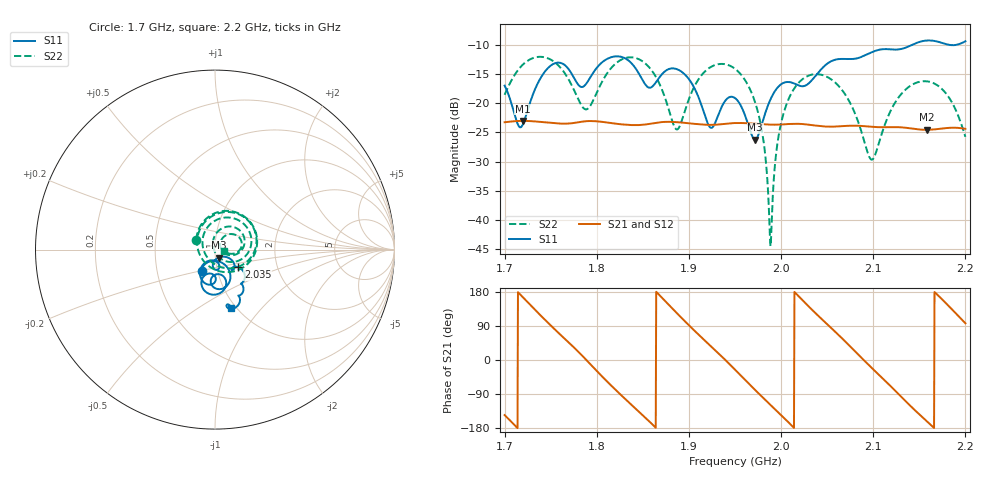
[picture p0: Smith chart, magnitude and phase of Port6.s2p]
# Hz S RI R 50
! CMT, CMT808U, 21440046, 21.4.3/4
! Date: 11/20/2025 11:31:19 PM
! Data: Format (Calibration Info)
! Freq	S11:Re/Im(F2)	S41:Re/Im(F2)	S14:Re/Im(F2)	S44:Re/Im(F2)
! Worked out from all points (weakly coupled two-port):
!   1001 points, 1.7 GHz to 2.2 GHz, reference 50 ohm
!   highest |S21| = -23.02 dB at 1.72 GHz (marker M1); lowest = -24.5 dB at 2.158 GHz (marker M2)
!   lowest |S11| = -26.2 dB at 1.972 GHz (marker M3), VSWR 1.10, Z = 51.9 - j4.6 ohm
!   |S11| at or under -10 dB: start of sweep to 2.143 GHz; 2.181509 GHz to 2.190998 GHz (9.488 MHz wide, 0.434 % of centre)
!   |S22| runs from -44.4 to -12.1 dB; largest |S21 - S12| = 0.0013
!   S11 on the Smith chart (normalised r, x): 1.7 GHz: 0.84, -0.21; 2.035 GHz: 1.27, -0.26; 2.2 GHz: 0.94, -0.70
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1.7e9  -0.0748 -0.1199  -0.0565 -0.0391  -0.0574 -0.0385  -0.104 0.0558
1.72e9  0.0158 -0.0645  -0.0682 0.0182  -0.0683 0.0194  0.0292 0.2123
1.7515e9  0.0646 -0.2034  0.00267 0.0676  0.00375 0.0679  0.2318 0.0117
1.7835e9  0.0112 -0.137  0.0676 0.0159  0.0682 0.0149  -0.0415 -0.0861
1.8215e9  -0.00705 -0.2513  0.0101 -0.0659  0.00907 -0.0664  0.0717 0.2097
1.8445e9  -0.074 -0.1704  -0.0449 -0.047  -0.0458 -0.0464  0.2305 0.0661
1.867e9  0.00443 -0.1621  -0.0681 0.00741  -0.0682 0.00861  0.1148 -0.1001
1.887e9  -0.0564 -0.1869  -0.038 0.0574  -0.0371 0.0582  -0.0524 -0.0284
1.9235e9  -0.013 -0.0604  0.052 0.0394  0.0529 0.0386  0.106 0.1736
1.95e9  -0.00105 -0.1106  0.061 -0.0292  0.0607 -0.0304  0.1966 0.0083
1.972e9  0.0206 -0.0442  0.0121 -0.0656  0.0109 -0.066  0.0742 -0.068
1.981e9  0.0616 -0.0411  -0.0125 -0.0648  -0.0138 -0.0647  0.0212 -0.0421
1.9885e9  0.0915 -0.0567  -0.0313 -0.0576  -0.0324 -0.0572  -0.00552 -0.00235
1.9955e9  0.1071 -0.0806  -0.0462 -0.0465  -0.0472 -0.0458  -0.0114 0.0407
2.003e9  0.1072 -0.1043  -0.0585 -0.0306  -0.0592 -0.0295  0.00232 0.0834
2.0335e9  0.1247 -0.0965  -0.0441 0.0477  -0.0432 0.0486  0.1419 0.1033
2.035e9  0.1298 -0.098  -0.0409 0.0502  -0.04 0.051  0.1466 0.0979
2.0685e9  0.149 -0.1866  0.0396 0.05  0.0405 0.0494  0.1194 -0.0258
2.0975e9  0.1588 -0.219  0.0596 -0.0203  0.0594 -0.0214  0.0324 0.00705
2.117e9  0.135 -0.2557  0.0268 -0.0564  0.0259 -0.057  0.0442 0.0668
2.158e9  0.1103 -0.3249  -0.0561 -0.019  -0.0564 -0.0178  0.1485 0.04
2.2e9  0.0884 -0.3262  -0.00723 0.06  -0.00613 0.0601  0.0511 -0.00748
